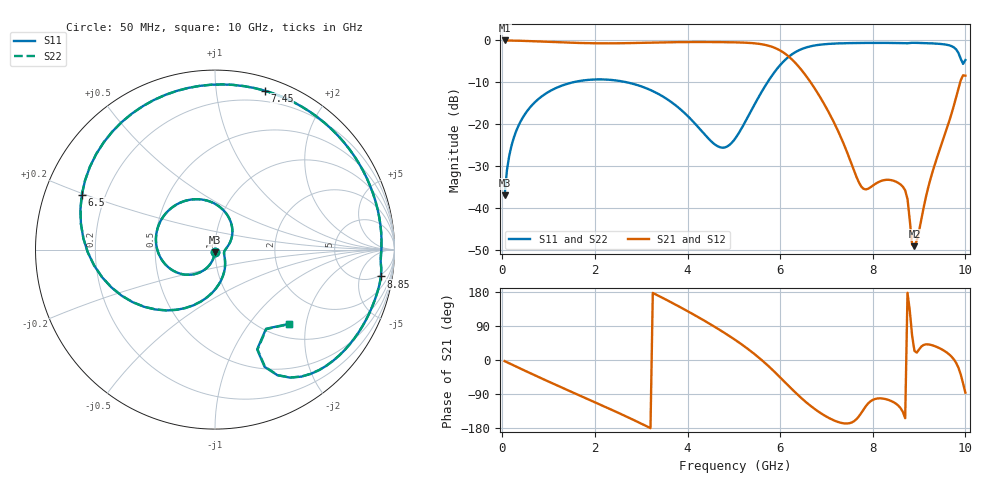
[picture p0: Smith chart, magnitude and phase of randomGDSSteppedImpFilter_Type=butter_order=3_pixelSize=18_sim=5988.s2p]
! freq	dB(S11)	phase(S11)	dB(S12)	phase(S12)
!  dB(S21)	phase(S21)	dB(S22)	phase(S22)
!S-par simulation data
#  GHz  S  DB  R 50
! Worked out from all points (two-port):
!   200 points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, 50 MHz to 10 GHz, reference 50 ohm
!   highest |S21| = 0.00 dB at 50 MHz (marker M1); lowest = -49.2 dB at 8.9 GHz (marker M2)
!   |S21| within 3 dB of the highest: start of sweep to 6.085 GHz
!   lowest |S11| = -37.0 dB at 50 MHz (marker M3), VSWR 1.03, Z = 49.9 - j1.41 ohm
!   |S11| at or under -10 dB: start of sweep to 1.53 GHz; 2.686 GHz to 5.727 GHz (3.04 GHz wide, 72.3 % of centre)
!   |S22| runs from -37.0 to -0.6 dB; largest |S21 - S12| = 0
!   S11 on the Smith chart (normalised r, x): 50 MHz: 1.00, -0.03; 6.5 GHz: 0.11, +0.20; 7.45 GHz: 0.11, +1.36; 8.85 GHz: 4, -11; 10 GHz: 1.27, -1.59
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0.05  -37.01 -92.9  -0.00 -3.0  -0.00 -3.0  -37.01 -92.9
0.2  -25.09 -101.8  -0.03 -11.6  -0.03 -11.6  -25.09 -101.8
0.5  -17.44 -119.4  -0.12 -28.9  -0.12 -28.9  -17.44 -119.4
1.15  -11.42 -155.9  -0.41 -65.3  -0.41 -65.3  -11.42 -155.9
1.75  -9.56 171.5  -0.63 -97.9  -0.63 -97.9  -9.56 171.5
2.7  -10.03 119.3  -0.65 -150.4  -0.65 -150.4  -10.03 119.3
3.4  -12.96 78.1  -0.48 167.8  -0.48 167.8  -12.96 78.1
4.35  -22.21 17.2  -0.38 104.7  -0.38 104.7  -22.21 17.2
5.05  -23.12 -39.5  -0.46 51.3  -0.46 51.3  -23.12 -39.8
5.7  -10.46 -105.2  -1.12 -10.7  -1.12 -10.7  -10.46 -105.3
6.1  -4.73 -153.7  -3.11 -58.1  -3.11 -58.1  -4.73 -153.8
6.5  -1.91 157.6  -7.60 -105.0  -7.60 -105.0  -1.91 157.6
6.7  -1.30 136.1  -10.69 -125.1  -10.69 -125.1  -1.30 136.0
7.45  -0.65 72.6  -26.85 -167.6  -26.85 -167.6  -0.65 72.7
7.8  -0.60 49.1  -35.44 -130.8  -35.44 -130.8  -0.60 49.1
8.35  -0.59 16.6  -33.30 -105.9  -33.30 -105.9  -0.60 16.6
8.7  -0.67 -1.8  -35.83 -153.6  -35.83 -153.6  -0.68 -1.7
8.85  -0.57 -9.2  -48.83 63.8  -48.83 63.8  -0.57 -9.1
8.9  -0.57 -12.0  -49.16 24.1  -49.16 24.1  -0.57 -11.9
9.7  -1.36 -55.9  -17.52 9.0  -17.52 9.0  -1.35 -55.7
9.9  -4.39 -67.1  -9.52 -38.3  -9.52 -38.3  -4.36 -66.9
10  -4.69 -45.3  -8.42 -86.3  -8.42 -86.3  -4.66 -45.3
